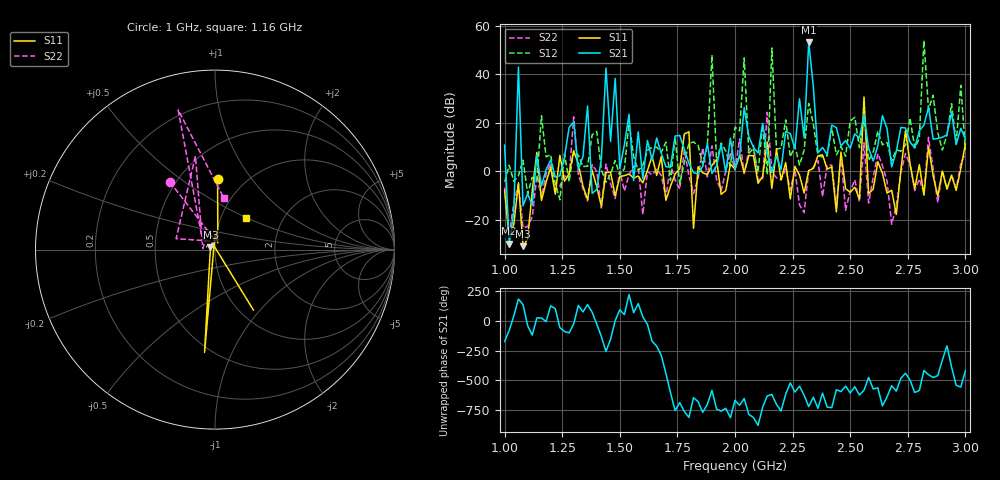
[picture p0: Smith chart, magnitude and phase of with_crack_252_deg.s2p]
# MHz S MA R 50
!  freq  S11  S21  S12  S22
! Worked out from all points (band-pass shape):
!   101 points, 1 GHz to 3 GHz, reference 50 ohm
!   highest |S21| = 53.20 dB at 2.32 GHz (marker M1); lowest = -29.9 dB at 1.02 GHz (marker M2)
!   |S21| within 3 dB of the highest: 2.318478 GHz to 2.323277 GHz (4.799 MHz wide, 0.207 % of centre)
!   lowest |S11| = -30.9 dB at 1.08 GHz (marker M3), VSWR 1.06, Z = 47.5 + j1.21 ohm
!   |S11| at or under -10 dB: 1.002 GHz to 1.054 GHz (51.93 MHz wide, 5.05 % of centre); 1.064 GHz to 1.118 GHz (53.99 MHz wide, 4.95 % of centre); 1.158 GHz to 1.166 GHz (7.644 MHz wide, 0.658 % of centre) (the widest 3 of 13)
!   |S22| runs from -26.7 to 24.2 dB; largest |S21 - S12| = 4.9e+02
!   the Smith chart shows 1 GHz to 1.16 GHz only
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1000  0.3959 87.9  3.432 -174.0  0.6012 5.9  0.4541 123.8
1020  0.04114 67.2  0.0321 -80.5  1.319 -171.9  0.04638 83.9
1080  0.02839 153.5  0.1928 136.8  1.689 108.7  0.06819 174.7
1340  0.4943 93.8  1.995 75.0  1.239 68.8  0.4384 82.4
1680  1.994 92.2  2.326 68.6  2.42 -170.4  0.8165 58.0
1880  0.8451 -88.6  3.721 17.1  3.35 7.1  0.7602 -93.5
1900  1.315 72.9  0.8961 134.0  247.5 40.9  3.308 111.1
1920  1.732 -90.8  1.275 -22.1  1.593 140.1  0.6766 -106.2
2000  1.098 131.0  1.133 50.8  8.081 -97.4  1.045 103.9
2040  0.9199 76.0  20.4 66.2  215.8 31.6  0.8905 80.6
2140  3.967 -74.1  2.372 88.2  0.8529 56.9  16.27 131.8
2160  0.4392 179.9  0.9335 100.1  346.2 60.7  0.9499 89.4
2180  2.818 44.8  2.057 16.7  2.821 43.3  0.7305 163.8
2280  0.8276 106.3  31 170.0  1.337 129.8  0.2011 118.1
2300  0.3535 -76.5  4.884 94.0  2.71 -50.0  0.1397 -83.4
2320  1.024 70.6  457.3 -2.1  24.95 34.3  1.025 68.2
2340  1.14 70.4  55.55 76.4  9.355 16.5  1.183 65.6
2680  0.4031 49.6  1.225 173.9  1.622 135.1  0.08025 4.6
2800  1.353 130.3  6.752 134.9  4.686 -79.8  0.6888 156.8
2820  0.3193 162.7  8.893 -58.5  493.7 -138.6  0.3536 155.2
2840  3.2 -46.0  20.84 -93.4  18.59 71.0  4.985 -56.8
3000  3.628 -21.1  4.636 -61.2  2.724 -71.7  2.371 -40.2
